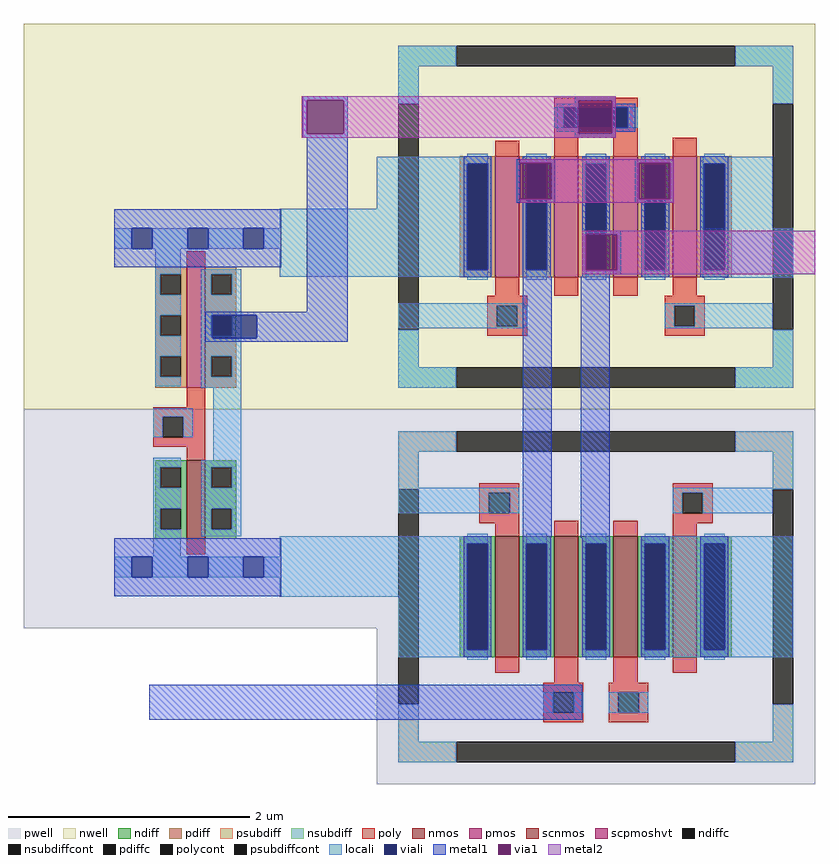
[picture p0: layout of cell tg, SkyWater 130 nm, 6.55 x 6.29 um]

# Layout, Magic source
magic
tech sky130A
magscale 1 2
<< nwell >>
rect -736 904 34 1202
rect 38 906 154 978
rect -736 784 -152 904
rect -2 784 34 904
rect -736 564 34 784
<< pwell >>
rect -736 202 -148 564
<< pdiff >>
rect 86 912 138 972
<< locali >>
rect -152 896 -2 982
rect -312 784 -2 896
rect 388 782 538 864
rect -116 698 92 740
rect -116 392 84 434
rect -312 254 -2 354
rect -116 154 -2 254
rect 326 154 538 354
rect 248 62 282 96
<< viali >>
rect -424 682 -350 720
<< metal1 >>
rect -274 1076 -200 1082
rect -274 1020 -268 1076
rect -206 1020 -200 1076
rect -274 1014 -200 1020
rect 176 1076 244 1082
rect 176 1020 182 1076
rect 238 1020 244 1076
rect 176 1014 244 1020
rect -268 726 -200 1014
rect 80 972 144 978
rect 80 912 86 972
rect 138 912 144 972
rect 80 906 144 912
rect 276 972 340 978
rect 276 912 282 972
rect 334 912 340 972
rect 276 906 340 912
rect 188 854 252 860
rect 188 794 194 854
rect 246 794 252 854
rect 188 788 252 794
rect 188 784 234 788
rect -436 720 -200 726
rect -436 682 -424 720
rect -350 682 -200 720
rect -436 676 -200 682
rect 90 354 138 784
rect 186 352 234 784
rect -528 50 188 108
<< via1 >>
rect -268 1020 -206 1076
rect 182 1020 238 1076
rect 86 912 138 972
rect 282 912 334 972
rect 194 794 246 854
<< metal2 >>
rect -276 1076 244 1082
rect -276 1020 -268 1076
rect -206 1020 182 1076
rect 238 1020 244 1076
rect -276 1014 244 1020
rect 86 972 340 978
rect 138 912 282 972
rect 334 912 340 972
rect 86 906 340 912
rect 188 854 574 860
rect 188 794 194 854
rect 246 794 574 854
rect 188 788 574 794
use sky130_fd_pr__nfet_01v8_ZRZL87  sky130_fd_pr__nfet_01v8_ZRZL87_0
transform 1 0 211 0 -1 254
box -363 -310 363 310
use sky130_fd_pr__pfet_01v8_3HMKL2  sky130_fd_pr__pfet_01v8_3HMKL2_0
transform 1 0 211 0 1 883
box -363 -319 363 319
use sky130_fd_sc_hd__inv_1  sky130_fd_sc_hd__inv_1_0 $PDKPATH/libs.ref/sky130_fd_sc_hd/mag
transform 1 0 -586 0 1 303
box -38 -48 314 592
<< end >>

# cell sky130_fd_pr__nfet_01v8_ZRZL87: kit device sky130_fd_pr__nfet_01v8, w 1 l 0.2 m 1 nf 4 diffcov 100 polycov 100 guard 1 glc 1 grc 1 gtc 1 gbc 1 tbcov 100 rlcov 100 topc 1 botc 1 poverlap 0 doverlap 1 lmin 0.15 wmin 0.42 compatible {sky130_fd_pr__nfet_01v8 sky130_fd_pr__nfet_01v8_lvt sky130_fd_bs_flash__special_sonosfet_star sky130_fd_pr__nfet_g5v0d10v5 sky130_fd_pr__nfet_05v0_nvt sky130_fd_pr__nfet_03v3_nvt} full_metal 1 viasrc 100 viadrn 100 viagate 100 viagb 0 viagr 0 viagl 0 viagt 0

# cell sky130_fd_pr__pfet_01v8_3HMKL2: kit device sky130_fd_pr__pfet_01v8, w 1 l 0.2 m 1 nf 4 diffcov 100 polycov 100 guard 1 glc 1 grc 1 gtc 1 gbc 1 tbcov 100 rlcov 100 topc 1 botc 1 poverlap 0 doverlap 1 lmin 0.15 wmin 0.42 compatible {sky130_fd_pr__pfet_01v8 sky130_fd_pr__pfet_01v8_lvt sky130_fd_pr__pfet_01v8_hvt sky130_fd_pr__pfet_g5v0d10v5} full_metal 1 viasrc 100 viadrn 100 viagate 100 viagb 0 viagr 0 viagl 0 viagt 0

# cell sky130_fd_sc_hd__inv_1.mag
magic
tech sky130A
magscale 1 2
<< nwell >>
rect -38 261 314 582
<< pwell >>
rect 42 21 228 203
rect 42 17 63 21
rect 29 -17 63 17
<< scnmos >>
rect 120 47 150 177
<< scpmoshvt >>
rect 120 297 150 497
<< ndiff >>
rect 68 165 120 177
rect 68 131 76 165
rect 110 131 120 165
rect 68 97 120 131
rect 68 63 76 97
rect 110 63 120 97
rect 68 47 120 63
rect 150 165 202 177
rect 150 131 160 165
rect 194 131 202 165
rect 150 97 202 131
rect 150 63 160 97
rect 194 63 202 97
rect 150 47 202 63
<< pdiff >>
rect 68 485 120 497
rect 68 451 76 485
rect 110 451 120 485
rect 68 417 120 451
rect 68 383 76 417
rect 110 383 120 417
rect 68 349 120 383
rect 68 315 76 349
rect 110 315 120 349
rect 68 297 120 315
rect 150 485 202 497
rect 150 451 160 485
rect 194 451 202 485
rect 150 417 202 451
rect 150 383 160 417
rect 194 383 202 417
rect 150 349 202 383
rect 150 315 160 349
rect 194 315 202 349
rect 150 297 202 315
<< ndiffc >>
rect 76 131 110 165
rect 76 63 110 97
rect 160 131 194 165
rect 160 63 194 97
<< pdiffc >>
rect 76 451 110 485
rect 76 383 110 417
rect 76 315 110 349
rect 160 451 194 485
rect 160 383 194 417
rect 160 315 194 349
<< poly >>
rect 120 497 150 523
rect 120 265 150 297
rect 64 249 150 265
rect 64 215 80 249
rect 114 215 150 249
rect 64 199 150 215
rect 120 177 150 199
rect 120 21 150 47
<< polycont >>
rect 80 215 114 249
<< locali >>
rect 0 527 29 561
rect 63 527 121 561
rect 155 527 213 561
rect 247 527 276 561
rect 68 485 110 527
rect 68 451 76 485
rect 68 417 110 451
rect 68 383 76 417
rect 68 349 110 383
rect 68 315 76 349
rect 68 299 110 315
rect 144 485 210 493
rect 144 451 160 485
rect 194 451 210 485
rect 144 417 210 451
rect 144 383 160 417
rect 194 383 210 417
rect 144 349 210 383
rect 144 315 160 349
rect 194 315 210 349
rect 144 297 210 315
rect 64 249 130 263
rect 64 215 80 249
rect 114 215 130 249
rect 64 165 110 181
rect 164 177 210 297
rect 64 131 76 165
rect 64 97 110 131
rect 64 63 76 97
rect 64 17 110 63
rect 144 165 210 177
rect 144 131 160 165
rect 194 131 210 165
rect 144 97 210 131
rect 144 63 160 97
rect 194 63 210 97
rect 144 51 210 63
rect 0 -17 29 17
rect 63 -17 121 17
rect 155 -17 213 17
rect 247 -17 276 17
<< viali >>
rect 29 527 63 561
rect 121 527 155 561
rect 213 527 247 561
rect 29 -17 63 17
rect 121 -17 155 17
rect 213 -17 247 17
<< metal1 >>
rect 0 561 276 592
rect 0 527 29 561
rect 63 527 121 561
rect 155 527 213 561
rect 247 527 276 561
rect 0 496 276 527
rect 0 17 276 48
rect 0 -17 29 17
rect 63 -17 121 17
rect 155 -17 213 17
rect 247 -17 276 17
rect 0 -48 276 -17
<< labels >>
flabel metal1 s 29 -17 63 17 0 FreeSans 200 0 0 0 VGND
port 1 nsew
flabel metal1 s 29 527 63 561 0 FreeSans 200 0 0 0 VPWR
port 2 nsew
flabel locali s 164 289 198 323 0 FreeSans 340 0 0 0 Y
port 4 nsew
flabel locali s 164 221 198 255 0 FreeSans 340 0 0 0 Y
port 4 nsew
flabel locali s 72 221 106 255 0 FreeSans 340 0 0 0 A
port 3 nsew
rlabel comment s 0 0 0 0 4 inv_1
flabel nwell s 29 527 63 561 0 FreeSans 200 0 0 0 VPB
port 6 nsew
flabel pwell s 29 -17 63 17 0 FreeSans 200 0 0 0 VNB
port 7 nsew
<< properties >>
string FIXED_BBOX 0 0 276 544
string GDS_END 197690
string GDS_FILE adc_top.gds.gz
string GDS_START 194184
string path 0.000 0.000 1.380 0.000 
<< end >>
